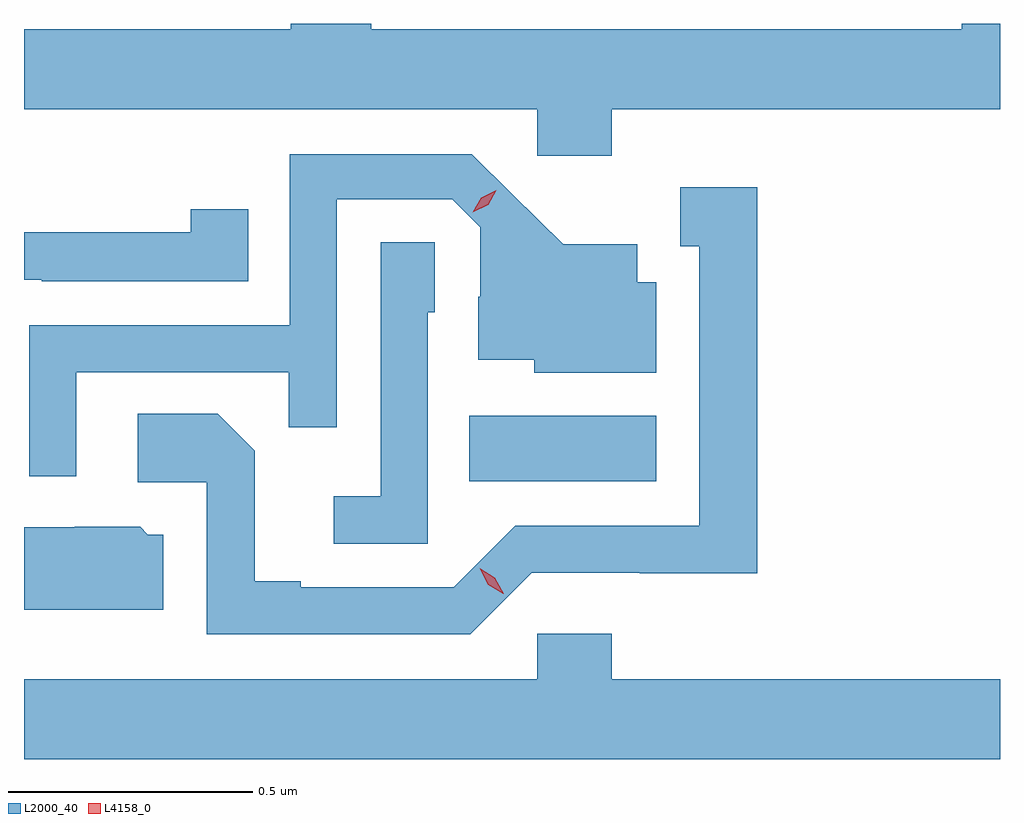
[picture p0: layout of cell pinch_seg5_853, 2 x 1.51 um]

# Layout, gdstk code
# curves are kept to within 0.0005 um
import gdstk
lib = gdstk.Library(unit=1e-6, precision=1e-09)
def R(c, l, rs):  # rectangles x0, y0, x1, y1
    for r in rs: c.add(gdstk.rectangle(r[:2], r[2:], *l))
def P(c, l, *ps):  # polygons
    for p in ps: c.add(gdstk.Polygon(p, *l))
L2000_40 = (2000, 40)
L4158_0 = (4158, 0)

pinch_seg5_853 = lib.new_cell('pinch_seg5_853')
R(pinch_seg5_853, L2000_40, [(779.17,891.962,779.554,892.096)])
P(pinch_seg5_853, L2000_40, [(779.462,892.724),(780.258,892.724),(780.258,892.899),(780.18,892.899),(780.18,892.888),(778.97,892.888),(778.97,892.899),(778.805,892.899),(778.805,892.888),(778.258,892.888),(778.258,892.724),(779.31,892.724),(779.31,892.629),(779.462,892.629)],
  [(778.365,892.185),(778.801,892.185),(778.801,892.072),(778.899,892.072),(778.899,892.539),(779.136,892.539),(779.193,892.482),(779.193,892.34),(779.189,892.34),(779.189,892.211),(779.304,892.211),(779.304,892.184),(779.554,892.184),(779.554,892.369),(779.515,892.369),(779.515,892.447),(779.363,892.447),(779.176,892.632),(778.803,892.632),(778.803,892.281),(778.269,892.281),(778.269,891.972),(778.365,891.972)],
  [(779.298,891.774),(779.52,891.774),(779.52,891.773),(779.761,891.773),(779.761,892.564),(779.603,892.564),(779.603,892.443),(779.642,892.443),(779.642,891.87),(779.265,891.87),(779.139,891.744),(778.825,891.744),(778.825,891.757),(778.731,891.757),(778.731,892.024),(778.655,892.1),(778.491,892.1),(778.491,891.96),(778.632,891.96),(778.632,891.648),(779.172,891.648)],
  [(778.718,892.519),(778.6,892.519),(778.6,892.472),(778.258,892.472),(778.258,892.374),(778.294,892.374),(778.294,892.371),(778.718,892.371)],
  [(779.085,892.308),(779.1,892.308),(779.1,892.451),(778.989,892.451),(778.989,891.931),(778.893,891.931),(778.893,891.834),(779.085,891.834)],
  [(778.543,891.852),(778.512,891.852),(778.496,891.868),(778.362,891.868),(778.362,891.867),(778.258,891.867),(778.258,891.698),(778.543,891.698)],
  [(780.258,891.556),(779.462,891.556),(779.462,891.649),(779.31,891.649),(779.31,891.556),(778.258,891.556),(778.258,891.392),(780.258,891.392)])
P(pinch_seg5_853, L4158_0, [(779.178,892.513),(779.178,892.513),(779.195,892.543),(779.226,892.558),(779.226,892.558),(779.226,892.558),(779.209,892.528),(779.178,892.513)],
  [(779.24,891.731),(779.209,891.75),(779.192,891.783),(779.192,891.783),(779.192,891.783),(779.223,891.764),(779.241,891.731),(779.241,891.731)])

lib.write_gds('pinch_seg5_853.gds')
